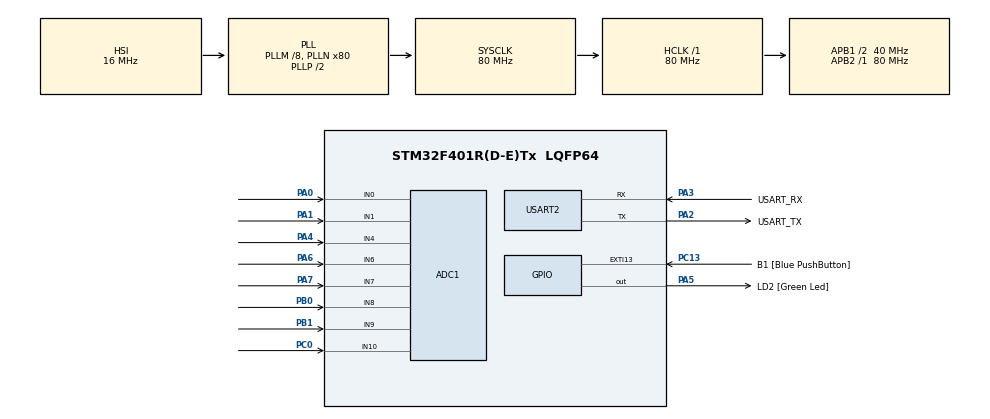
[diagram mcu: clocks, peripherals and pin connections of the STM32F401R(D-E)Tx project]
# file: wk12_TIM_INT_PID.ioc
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Mcu.Family=STM32F4
PA2.GPIO_PuPd=GPIO_NOPULL
RCC.CortexFreq_Value=80000000
ADC1.ContinuousConvMode=ENABLE
ADC1.SamplingTime-6\#ChannelRegularConversion=ADC_SAMPLETIME_3CYCLES
PA14.GPIO_Label=TCK
PA3.GPIO_PuPd=GPIO_NOPULL
PA2.GPIO_Speed=GPIO_SPEED_FREQ_LOW
PA3.GPIO_Speed=GPIO_SPEED_FREQ_LOW
RCC.SYSCLKSource=RCC_SYSCLKSOURCE_PLLCLK
ProjectManager.StackSize=0x400
PH0\ -\ OSC_IN.Signal=RCC_OSC_IN
ADC1.Channel-5\#ChannelRegularConversion=ADC_CHANNEL_8
ADC1.Channel-3\#ChannelRegularConversion=ADC_CHANNEL_6
RCC.HCLKFreq_Value=80000000
RCC.APB2TimFreq_Value=80000000
Dma.ADC1.0.Direction=DMA_PERIPH_TO_MEMORY
ADC1.Channel-2\#ChannelRegularConversion=ADC_CHANNEL_4
NVIC.DMA2_Stream0_IRQn=true\:0\:0\:false\:false\:true\:false\:true
Dma.ADC1.0.MemDataAlignment=DMA_MDATAALIGN_HALFWORD
RCC.AHBFreq_Value=80000000
ADC1.Channel-0\#ChannelRegularConversion=ADC_CHANNEL_0
RCC.HSE_VALUE=8000000
ADC1.ScanConvMode=ENABLE
PC13-ANTI_TAMP.Signal=GPXTI13
ADC1.SamplingTime-4\#ChannelRegularConversion=ADC_SAMPLETIME_3CYCLES
ADC1.Channel-6\#ChannelRegularConversion=ADC_CHANNEL_9
ADC1.Rank-2\#ChannelRegularConversion=3
PC14-OSC32_IN.Mode=LSE-External-Oscillator
PA14.Mode=Serial_Wire
PA5.GPIO_PuPd=GPIO_NOPULL
Dma.ADC1.0.PeriphInc=DMA_PINC_DISABLE
NVIC.TIM2_IRQn=true\:0\:0\:false\:false\:true\:true\:true
SH.ADCx_IN8.0=ADC1_IN8,IN8
SH.ADCx_IN0.0=ADC1_IN0,IN0
ADC1.SamplingTime-0\#ChannelRegularConversion=ADC_SAMPLETIME_3CYCLES
Mcu.Package=LQFP64
TIM2.Prescaler=127
PA6.Signal=ADCx_IN6
PB1.Signal=ADCx_IN9
USART2.VirtualMode=VM_ASYNC
PA2.GPIO_Label=USART_TX
SH.ADCx_IN9.0=ADC1_IN9,IN9
SH.ADCx_IN1.0=ADC1_IN1,IN1
RCC.APB1TimFreq_Value=80000000
Dma.ADC1.0.FIFOMode=DMA_FIFOMODE_DISABLE
Dma.Request0=ADC1
ADC1.Rank-6\#ChannelRegularConversion=7
ADC1.Rank-4\#ChannelRegularConversion=5
PA3.Signal=USART2_RX
PA2.GPIO_Mode=GPIO_MODE_AF_PP
PB3.GPIO_Label=SWO
PC15-OSC32_OUT.Mode=LSE-External-Oscillator
Dma.ADC1.0.Instance=DMA2_Stream0
ADC1.Rank-0\#ChannelRegularConversion=1
ADC1.Channel-4\#ChannelRegularConversion=ADC_CHANNEL_7
PC13-ANTI_TAMP.GPIO_PuPd=GPIO_NOPULL
SH.ADCx_IN6.0=ADC1_IN6,IN6
PC13-ANTI_TAMP.GPIO_Label=B1 [Blue PushButton]
PH1\ -\ OSC_OUT.Mode=HSE-External-Clock-Source
PC0.Signal=ADCx_IN10
RCC.APB1CLKDivider=RCC_HCLK_DIV2
PC14-OSC32_IN.Signal=RCC_OSC32_IN
ADC1.SamplingTime-2\#ChannelRegularConversion=ADC_SAMPLETIME_3CYCLES
PA0-WKUP.Signal=ADCx_IN0
ADC1.Channel-7\#ChannelRegularConversion=ADC_CHANNEL_10
PA3.Mode=Asynchronous
PA13.Signal=SYS_JTMS-SWDIO
Dma.ADC1.0.PeriphDataAlignment=DMA_PDATAALIGN_HALFWORD
PH0\ -\ OSC_IN.Mode=HSE-External-Clock-Source
ProjectManager.TargetToolchain=STM32CubeIDE
SH.ADCx_IN7.0=ADC1_IN7,IN7
Dma.ADC1.0.Mode=DMA_CIRCULAR
PA3.GPIO_Mode=GPIO_MODE_AF_PP
Dma.ADC1.0.Priority=DMA_PRIORITY_LOW
ADC1.Channel-1\#ChannelRegularConversion=ADC_CHANNEL_1
PC15-OSC32_OUT.Signal=RCC_OSC32_OUT
PA1.Signal=ADCx_IN1
PA5.Signal=GPIO_Output
PH1\ -\ OSC_OUT.Signal=RCC_OSC_OUT
board=NUCLEO-F401RE
RCC.VCOOutputFreq_Value=160000000
RCC.APB2Freq_Value=80000000
VP_TIM2_VS_ClockSourceINT.Mode=Internal
SH.ADCx_IN4.0=ADC1_IN4,IN4
ADC1.DMAContinuousRequests=ENABLE
TIM2.Period=625
ADC1.NbrOfConversion=8
PA13.Mode=Serial_Wire
Mcu.Name=STM32F401R(D-E)Tx
PA2.Signal=USART2_TX
PA13.GPIO_Label=TMS
RCC.48MHZClocksFreq_Value=22857142.85714286
PB3.Signal=SYS_JTDO-SWO
PA4.Signal=ADCx_IN4
ADC1.SamplingTime-1\#ChannelRegularConversion=ADC_SAMPLETIME_3CYCLES
RCC.SYSCLKFreq_VALUE=80000000
ADC1.master=1
PA5.GPIO_Label=LD2 [Green Led]
ADC1.Rank-3\#ChannelRegularConversion=4
ADC1.SamplingTime-3\#ChannelRegularConversion=ADC_SAMPLETIME_3CYCLES
PC13-ANTI_TAMP.GPIO_ModeDefaultEXTI=GPIO_MODE_IT_FALLING
ADC1.Rank-1\#ChannelRegularConversion=2
PA14.Signal=SYS_JTCK-SWCLK
Dma.ADC1.0.MemInc=DMA_MINC_ENABLE
SH.ADCx_IN10.0=ADC1_IN10,IN10
ProjectManager.HeapSize=0x200
ADC1.SamplingTime-5\#ChannelRegularConversion=ADC_SAMPLETIME_3CYCLES
RCC.HSI_VALUE=16000000
ADC1.Rank-7\#ChannelRegularConversion=8
PA5.GPIO_Speed=GPIO_SPEED_FREQ_LOW
RCC.PLLQ=7
NVIC.PriorityGroup=NVIC_PRIORITYGROUP_0
ADC1.NbrOfConversionFlag=1
RCC.PLLM=8
RCC.PLLN=80
PA2.Mode=Asynchronous
ADC1.SamplingTime-7\#ChannelRegularConversion=ADC_SAMPLETIME_3CYCLES
RCC.APB1Freq_Value=40000000
PA5.GPIO_Mode=GPIO_MODE_OUTPUT_PP
PB0.Signal=ADCx_IN8
ADC1.Rank-5\#ChannelRegularConversion=6
PA3.GPIO_Label=USART_RX
PA7.Signal=ADCx_IN7

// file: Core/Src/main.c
/* USER CODE BEGIN Header */
/**
  ******************************************************************************
  * @file           : main.c
  * @brief          : Main program body
  ******************************************************************************
  * @attention
  *
  * <h2><center>&copy; Copyright (c) 2021 STMicroelectronics.
  * All rights reserved.</center></h2>
  *
  * This software component is licensed by ST under BSD 3-Clause license,
  * the "License"; You may not use this file except in compliance with the
  * License. You may obtain a copy of the License at:
  *                        opensource.org/licenses/BSD-3-Clause
  *
  ******************************************************************************
  */
/* USER CODE END Header */
#include "main.h"

/* USER CODE BEGIN Includes */
#include "stdio.h"
#include "string.h"
/* USER CODE END Includes */

/* USER CODE BEGIN PD */
#define ADC_BUF_LEN 16

/* USER CODE END PD */

ADC_HandleTypeDef hadc1;
DMA_HandleTypeDef hdma_adc1;

TIM_HandleTypeDef htim2;

UART_HandleTypeDef huart2;

/* USER CODE BEGIN PV */
uint16_t adc_current[ADC_BUF_LEN];
uint32_t sensors_max[8],sensors_min[8];
float norm_ss[8],sum_norm_ss=0;
float position;
float setpoint = 0,error = 0,previouse_error = 0,integal = 0,derivative = 0;
float kp = 2, ki = 1, kd = 0;
float output=0;
/* USER CODE END PV */

void SystemClock_Config(void);
static void MX_GPIO_Init(void);
static void MX_DMA_Init(void);
static void MX_USART2_UART_Init(void);
static void MX_ADC1_Init(void);
static void MX_TIM2_Init(void);

/* USER CODE BEGIN 0 */
void sensor_init(){
    for(int i = 0 ; i<8 ; i++)
    {
  	  sensors_min[i]=4095;  // 12 bits
  	  sensors_max[i]=0;
    }
}
void setup_sensor(){
	while(HAL_GPIO_ReadPin(GPIOC, GPIO_PIN_13) == 0)
	{
		for(int i =0;i<8;i++)
		{
		  if(sensors_max[i]<adc_current[i])
		  {
		  	sensors_max[i] = adc_current[i];
		  }
		  if(sensors_min[i]>adc_current[i])
		  {
		  	sensors_min[i] = adc_current[i];
		  }
		}
	}
}
void normalize_sensor(){
	sum_norm_ss=0;
	for(int i =0;i<8;i++)
	{
		norm_ss[i] = 1-(((float)adc_current[i]-(float)sensors_min[i])/((float)sensors_max[i]-(float)sensors_min[i]));
		sum_norm_ss += norm_ss[i];
	}
}
void get_position(){
	position = ((float)(-50*norm_ss[0])+(float)(-35.72*norm_ss[1])+(float)(-21.44*norm_ss[2])+(float)(-7.16*norm_ss[3])+(float)(7.16*norm_ss[4])+(float)(21.4*norm_ss[5])+(float)(35.72*norm_ss[6])+(float)(50*norm_ss[7]))/(float)(sum_norm_ss);
}
/* USER CODE END 0 */

int main(void)
{
  /* USER CODE BEGIN 1 */
	unsigned char text1[100],text2[100];
	uint32_t current_time,previous_time, interval = 100;

  /* USER CODE END 1 */

  /* MCU Configuration--------------------------------------------------------*/

  /* Reset of all peripherals, Initializes the Flash interface and the Systick. */
  HAL_Init();

  /* Configure the system clock */
  SystemClock_Config();

  /* Initialize all configured peripherals */
  MX_GPIO_Init();
  MX_DMA_Init();
  MX_USART2_UART_Init();
  MX_ADC1_Init();
  MX_TIM2_Init();
  /* USER CODE BEGIN 2 */
  HAL_ADC_Start_DMA(&hadc1,(uint32_t*)adc_current, ADC_BUF_LEN);
  HAL_TIM_Base_Start_IT(&htim2);
  sensor_init();
  current_time = HAL_GetTick();
  previous_time = current_time;
  /* USER CODE END 2 */

  /* Infinite loop */
  /* USER CODE BEGIN WHILE */
  while (1)
  {
	  current_time = HAL_GetTick();
	  setup_sensor();
	  normalize_sensor();
	  get_position();

	  if(current_time - previous_time >= interval)
	  {
		//sprintf(&text1,"%.02f \r\n",position);
	  	sprintf(&text2,"%.02f %.02f \r\n",output ,position);
		HAL_UART_Transmit(&huart2, text2,strlen(text2), 1000);
	  	previous_time = current_time;
	  }
	/* USER CODE END WHILE */

  }
}

void SystemClock_Config(void)
{
  RCC_OscInitTypeDef RCC_OscInitStruct = {0};
  RCC_ClkInitTypeDef RCC_ClkInitStruct = {0};

  /** Configure the main internal regulator output voltage
  */
  __HAL_RCC_PWR_CLK_ENABLE();
  __HAL_PWR_VOLTAGESCALING_CONFIG(PWR_REGULATOR_VOLTAGE_SCALE2);
  /** Initializes the RCC Oscillators according to the specified parameters
  * in the RCC_OscInitTypeDef structure.
  */
  RCC_OscInitStruct.OscillatorType = RCC_OSCILLATORTYPE_HSI;
  RCC_OscInitStruct.HSIState = RCC_HSI_ON;
  RCC_OscInitStruct.HSICalibrationValue = RCC_HSICALIBRATION_DEFAULT;
  RCC_OscInitStruct.PLL.PLLState = RCC_PLL_ON;
  RCC_OscInitStruct.PLL.PLLSource = RCC_PLLSOURCE_HSI;
  RCC_OscInitStruct.PLL.PLLM = 8;
  RCC_OscInitStruct.PLL.PLLN = 80;
  RCC_OscInitStruct.PLL.PLLP = RCC_PLLP_DIV2;
  RCC_OscInitStruct.PLL.PLLQ = 7;
  if (HAL_RCC_OscConfig(&RCC_OscInitStruct) != HAL_OK)
  {
    Error_Handler();
  }
  /** Initializes the CPU, AHB and APB buses clocks
  */
  RCC_ClkInitStruct.ClockType = RCC_CLOCKTYPE_HCLK|RCC_CLOCKTYPE_SYSCLK
                              |RCC_CLOCKTYPE_PCLK1|RCC_CLOCKTYPE_PCLK2;
  RCC_ClkInitStruct.SYSCLKSource = RCC_SYSCLKSOURCE_PLLCLK;
  RCC_ClkInitStruct.AHBCLKDivider = RCC_SYSCLK_DIV1;
  RCC_ClkInitStruct.APB1CLKDivider = RCC_HCLK_DIV2;
  RCC_ClkInitStruct.APB2CLKDivider = RCC_HCLK_DIV1;

  if (HAL_RCC_ClockConfig(&RCC_ClkInitStruct, FLASH_LATENCY_2) != HAL_OK)
  {
    Error_Handler();
  }
}

static void MX_ADC1_Init(void)
{

  ADC_ChannelConfTypeDef sConfig = {0};

  /** Configure the global features of the ADC (Clock, Resolution, Data Alignment and number of conversion)
  */
  hadc1.Instance = ADC1;
  hadc1.Init.ClockPrescaler = ADC_CLOCK_SYNC_PCLK_DIV4;
  hadc1.Init.Resolution = ADC_RESOLUTION_12B;
  hadc1.Init.ScanConvMode = ENABLE;
  hadc1.Init.ContinuousConvMode = ENABLE;
  hadc1.Init.DiscontinuousConvMode = DISABLE;
  hadc1.Init.ExternalTrigConvEdge = ADC_EXTERNALTRIGCONVEDGE_NONE;
  hadc1.Init.ExternalTrigConv = ADC_SOFTWARE_START;
  hadc1.Init.DataAlign = ADC_DATAALIGN_RIGHT;
  hadc1.Init.NbrOfConversion = 8;
  hadc1.Init.DMAContinuousRequests = ENABLE;
  hadc1.Init.EOCSelection = ADC_EOC_SINGLE_CONV;
  if (HAL_ADC_Init(&hadc1) != HAL_OK)
  {
    Error_Handler();
  }
  /** Configure for the selected ADC regular channel its corresponding rank in the sequencer and its sample time.
  */
  sConfig.Channel = ADC_CHANNEL_0;
  sConfig.Rank = 1;
  sConfig.SamplingTime = ADC_SAMPLETIME_3CYCLES;
  if (HAL_ADC_ConfigChannel(&hadc1, &sConfig) != HAL_OK)
  {
    Error_Handler();
  }
  /** Configure for the selected ADC regular channel its corresponding rank in the sequencer and its sample time.
  */
  sConfig.Channel = ADC_CHANNEL_1;
  sConfig.Rank = 2;
  if (HAL_ADC_ConfigChannel(&hadc1, &sConfig) != HAL_OK)
  {
    Error_Handler();
  }
  /** Configure for the selected ADC regular channel its corresponding rank in the sequencer and its sample time.
  */
  sConfig.Channel = ADC_CHANNEL_4;
  sConfig.Rank = 3;
  if (HAL_ADC_ConfigChannel(&hadc1, &sConfig) != HAL_OK)
  {
    Error_Handler();
  }
  /** Configure for the selected ADC regular channel its corresponding rank in the sequencer and its sample time.
  */
  sConfig.Channel = ADC_CHANNEL_6;
  sConfig.Rank = 4;
  if (HAL_ADC_ConfigChannel(&hadc1, &sConfig) != HAL_OK)
  {
    Error_Handler();
  }
  /** Configure for the selected ADC regular channel its corresponding rank in the sequencer and its sample time.
  */
  sConfig.Channel = ADC_CHANNEL_7;
  sConfig.Rank = 5;
  if (HAL_ADC_ConfigChannel(&hadc1, &sConfig) != HAL_OK)
  {
    Error_Handler();
  }
  /** Configure for the selected ADC regular channel its corresponding rank in the sequencer and its sample time.
  */
  sConfig.Channel = ADC_CHANNEL_8;
  sConfig.Rank = 6;
  if (HAL_ADC_ConfigChannel(&hadc1, &sConfig) != HAL_OK)
  {
    Error_Handler();
  }
  /** Configure for the selected ADC regular channel its corresponding rank in the sequencer and its sample time.
  */
  sConfig.Channel = ADC_CHANNEL_9;
  sConfig.Rank = 7;
  if (HAL_ADC_ConfigChannel(&hadc1, &sConfig) != HAL_OK)
  {
    Error_Handler();
  }
  /** Configure for the selected ADC regular channel its corresponding rank in the sequencer and its sample time.
  */
  sConfig.Channel = ADC_CHANNEL_10;
  sConfig.Rank = 8;
  if (HAL_ADC_ConfigChannel(&hadc1, &sConfig) != HAL_OK)
  {
    Error_Handler();
  }

}

static void MX_TIM2_Init(void)
{

  TIM_ClockConfigTypeDef sClockSourceConfig = {0};
  TIM_MasterConfigTypeDef sMasterConfig = {0};

  htim2.Instance = TIM2;
  htim2.Init.Prescaler = 127;
  htim2.Init.CounterMode = TIM_COUNTERMODE_UP;
  htim2.Init.Period = 625;
  htim2.Init.ClockDivision = TIM_CLOCKDIVISION_DIV1;
  htim2.Init.AutoReloadPreload = TIM_AUTORELOAD_PRELOAD_DISABLE;
  if (HAL_TIM_Base_Init(&htim2) != HAL_OK)
  {
    Error_Handler();
  }
  sClockSourceConfig.ClockSource = TIM_CLOCKSOURCE_INTERNAL;
  if (HAL_TIM_ConfigClockSource(&htim2, &sClockSourceConfig) != HAL_OK)
  {
    Error_Handler();
  }
  sMasterConfig.MasterOutputTrigger = TIM_TRGO_RESET;
  sMasterConfig.MasterSlaveMode = TIM_MASTERSLAVEMODE_DISABLE;
  if (HAL_TIMEx_MasterConfigSynchronization(&htim2, &sMasterConfig) != HAL_OK)
  {
    Error_Handler();
  }

}

static void MX_USART2_UART_Init(void)
{

  huart2.Instance = USART2;
  huart2.Init.BaudRate = 115200;
  huart2.Init.WordLength = UART_WORDLENGTH_8B;
  huart2.Init.StopBits = UART_STOPBITS_1;
  huart2.Init.Parity = UART_PARITY_NONE;
  huart2.Init.Mode = UART_MODE_TX_RX;
  huart2.Init.HwFlowCtl = UART_HWCONTROL_NONE;
  huart2.Init.OverSampling = UART_OVERSAMPLING_16;
  if (HAL_UART_Init(&huart2) != HAL_OK)
  {
    Error_Handler();
  }

}

static void MX_DMA_Init(void)
{

  /* DMA controller clock enable */
  __HAL_RCC_DMA2_CLK_ENABLE();

  /* DMA interrupt init */
  /* DMA2_Stream0_IRQn interrupt configuration */
  HAL_NVIC_SetPriority(DMA2_Stream0_IRQn, 0, 0);
  HAL_NVIC_EnableIRQ(DMA2_Stream0_IRQn);

}

static void MX_GPIO_Init(void)
{
  GPIO_InitTypeDef GPIO_InitStruct = {0};

  /* GPIO Ports Clock Enable */
  __HAL_RCC_GPIOC_CLK_ENABLE();
  __HAL_RCC_GPIOH_CLK_ENABLE();
  __HAL_RCC_GPIOA_CLK_ENABLE();
  __HAL_RCC_GPIOB_CLK_ENABLE();

  /*Configure GPIO pin Output Level */
  HAL_GPIO_WritePin(LD2_GPIO_Port, LD2_Pin, GPIO_PIN_RESET);

  /*Configure GPIO pin : B1_Pin */
  GPIO_InitStruct.Pin = B1_Pin;
  GPIO_InitStruct.Mode = GPIO_MODE_IT_FALLING;
  GPIO_InitStruct.Pull = GPIO_NOPULL;
  HAL_GPIO_Init(B1_GPIO_Port, &GPIO_InitStruct);

  /*Configure GPIO pin : LD2_Pin */
  GPIO_InitStruct.Pin = LD2_Pin;
  GPIO_InitStruct.Mode = GPIO_MODE_OUTPUT_PP;
  GPIO_InitStruct.Pull = GPIO_NOPULL;
  GPIO_InitStruct.Speed = GPIO_SPEED_FREQ_LOW;
  HAL_GPIO_Init(LD2_GPIO_Port, &GPIO_InitStruct);

}

/* USER CODE BEGIN 4 */
void HAL_TIM_PeriodElapsedCallback(TIM_HandleTypeDef *htim)
{
	HAL_GPIO_TogglePin(GPIOA, GPIO_PIN_5);
	error = position - setpoint;
	integal += error * 0.001; //interupt every 1/1000 seccond because set equal to 1kHz
	output = (kp*error) + (ki*integal);
}
/* USER CODE END 4 */

void Error_Handler(void)
{
  __disable_irq();
  while (1)
  {
  }
}

/************************ (C) COPYRIGHT STMicroelectronics *****END OF FILE****/
